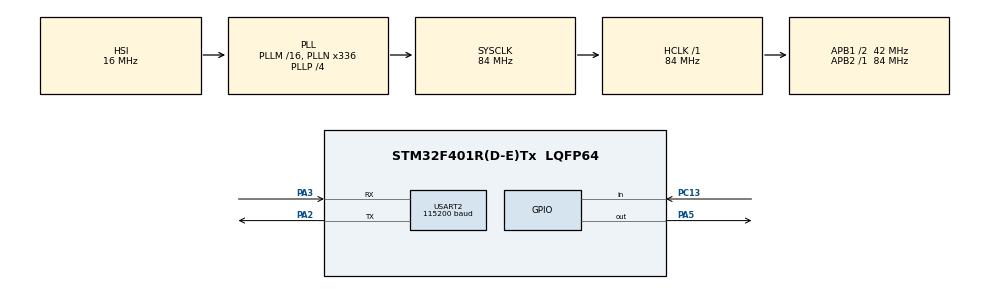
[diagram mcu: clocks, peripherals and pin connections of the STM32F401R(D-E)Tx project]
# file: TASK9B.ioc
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Mcu.Family=STM32F4
Mcu.Name=STM32F401R(D-E)Tx
Mcu.Package=LQFP64
NVIC.USART2_IRQn=true:0:0:false:false:true:true:true:true
PA2.Mode=Asynchronous
PA2.Signal=USART2_TX
PA3.Mode=Asynchronous
PA3.Signal=USART2_RX
PA5.Signal=GPIO_Output
PA13.Mode=Serial_Wire
PA13.Signal=SYS_JTMS-SWDIO
PA14.Mode=Serial_Wire
PA14.Signal=SYS_JTCK-SWCLK
PC13.Signal=GPIO_Input
PC13.GPIO_PuPd=GPIO_PULLUP
ProjectManager.TargetToolchain=MDK-ARM V5.32
RCC.AHBFreq_Value=84000000
RCC.APB1Freq_Value=42000000
RCC.APB2Freq_Value=84000000
RCC.CortexFreq_Value=84000000
RCC.HCLKFreq_Value=84000000
RCC.SYSCLKFreq_VALUE=84000000
RCC.SYSCLKSource=RCC_SYSCLKSOURCE_PLLCLK
USART2.BaudRate=115200
USART2.Parity=PARITY_NONE
USART2.StopBits=STOPBITS_1
USART2.WordLength=WORDLENGTH_8B
board=custom

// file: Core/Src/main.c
/* USER CODE BEGIN Header */
/**
  ******************************************************************************
  * @file           : main.c
  * @brief          : CAT 9 - TASK 9B: Interactive LED Command Parser
  * Target Device   : STM32F401RET6 (NUCLEO-F401RE, ARM Cortex-M4 @ 84 MHz)
  * Pin Map         : PA2  -> USART2 TX (ST-LINK Virtual COM Port @ 115200)
  *                   PA3  -> USART2 RX (ST-LINK Virtual COM Port @ 115200)
  *                   PA5  -> Onboard Green LED LD2
  ******************************************************************************
  */
/* USER CODE END Header */
#include "main.h"

/* USER CODE BEGIN Includes */
#include <stdio.h>
#include <string.h>
#include <stdbool.h>
/* USER CODE END Includes */

UART_HandleTypeDef huart2;

/* USER CODE BEGIN PV */
uint8_t rx_byte = 0;
char rx_buffer[64];
uint8_t rx_index = 0;
char response[128];
/* USER CODE END PV */

void SystemClock_Config(void);
static void MX_GPIO_Init(void);
static void MX_USART2_UART_Init(void);

int main(void)
{
  /* USER CODE BEGIN 1 */
  char *banner = "\r\n========================================\r\n"
                 " STM32F401RE Command Parser Console\r\n"
                 " Supported: LED ON, LED OFF, LED TOGGLE, LED STATUS\r\n"
                 "========================================\r\n> ";
  GPIO_PinState st;
  /* USER CODE END 1 */

  /* MCU Configuration--------------------------------------------------------*/

  /* Reset of all peripherals, Initializes the Flash interface and the Systick. */
  HAL_Init();

  /* Configure the system clock */
  SystemClock_Config();

  /* Initialize all configured peripherals */
  MX_GPIO_Init();
  MX_USART2_UART_Init();
  /* USER CODE BEGIN 2 */
  HAL_UART_Transmit(&huart2, (uint8_t *)banner, strlen(banner), HAL_MAX_DELAY);
  /* USER CODE END 2 */

  /* Infinite loop */
  /* USER CODE BEGIN WHILE */
  while (1)
  {
    if (HAL_UART_Receive(&huart2, &rx_byte, 1, 10) == HAL_OK)
    {
      HAL_UART_Transmit(&huart2, &rx_byte, 1, 10); /* Echo typed character */

      if (rx_byte == '\r' || rx_byte == '\n')
      {
        if (rx_index > 0)
        {
          rx_buffer[rx_index] = '\0';

          if (strcmp(rx_buffer, "LED ON") == 0)
          {
            HAL_GPIO_WritePin(GPIOA, GPIO_PIN_5, GPIO_PIN_SET);
            snprintf(response, sizeof(response), "\r\n[OK] User LED (PA5) is now turned ON\r\n> ");
          }
          else if (strcmp(rx_buffer, "LED OFF") == 0)
          {
            HAL_GPIO_WritePin(GPIOA, GPIO_PIN_5, GPIO_PIN_RESET);
            snprintf(response, sizeof(response), "\r\n[OK] User LED (PA5) is now turned OFF\r\n> ");
          }
          else if (strcmp(rx_buffer, "LED TOGGLE") == 0)
          {
            HAL_GPIO_TogglePin(GPIOA, GPIO_PIN_5);
            st = HAL_GPIO_ReadPin(GPIOA, GPIO_PIN_5);
            snprintf(response, sizeof(response), "\r\n[OK] User LED toggled to %s\r\n> ", (st == GPIO_PIN_SET) ? "ON" : "OFF");
          }
          else if (strcmp(rx_buffer, "LED STATUS") == 0)
          {
            st = HAL_GPIO_ReadPin(GPIOA, GPIO_PIN_5);
            snprintf(response, sizeof(response), "\r\n[STATUS] User LED (PA5) is currently: %s\r\n> ", (st == GPIO_PIN_SET) ? "ON" : "OFF");
          }
          else
          {
            snprintf(response, sizeof(response), "\r\n[ERROR] Unknown Command '%s'. Valid: LED ON | LED OFF | LED TOGGLE | LED STATUS\r\n> ", rx_buffer);
          }

          HAL_UART_Transmit(&huart2, (uint8_t *)response, strlen(response), HAL_MAX_DELAY);
          rx_index = 0;
        }
        else
        {
          char prompt[] = "\r\n> ";
          HAL_UART_Transmit(&huart2, (uint8_t *)prompt, strlen(prompt), HAL_MAX_DELAY);
        }
      }
      else if (rx_byte == '\b' || rx_byte == 0x7F)
      {
        if (rx_index > 0)
        {
          rx_index--;
          char bs_seq[] = " \b";
          HAL_UART_Transmit(&huart2, (uint8_t *)bs_seq, strlen(bs_seq), HAL_MAX_DELAY);
        }
      }
      else
      {
        if (rx_index < sizeof(rx_buffer) - 1)
        {
          rx_buffer[rx_index++] = rx_byte;
        }
      }
    }
    /* USER CODE END WHILE */

  }
}

void SystemClock_Config(void)
{
  RCC_OscInitTypeDef RCC_OscInitStruct = {0};
  RCC_ClkInitTypeDef RCC_ClkInitStruct = {0};

  __HAL_RCC_PWR_CLK_ENABLE();
  __HAL_PWR_VOLTAGESCALING_CONFIG(PWR_REGULATOR_VOLTAGE_SCALE2);

  RCC_OscInitStruct.OscillatorType = RCC_OSCILLATORTYPE_HSI;
  RCC_OscInitStruct.HSIState = RCC_HSI_ON;
  RCC_OscInitStruct.HSICalibrationValue = RCC_HSICALIBRATION_DEFAULT;
  RCC_OscInitStruct.PLL.PLLState = RCC_PLL_ON;
  RCC_OscInitStruct.PLL.PLLSource = RCC_PLLSOURCE_HSI;
  RCC_OscInitStruct.PLL.PLLM = 16;
  RCC_OscInitStruct.PLL.PLLN = 336;
  RCC_OscInitStruct.PLL.PLLP = RCC_PLLP_DIV4;
  RCC_OscInitStruct.PLL.PLLQ = 7;
  if (HAL_RCC_OscConfig(&RCC_OscInitStruct) != HAL_OK)
  {
    Error_Handler();
  }

  RCC_ClkInitStruct.ClockType = RCC_CLOCKTYPE_HCLK|RCC_CLOCKTYPE_SYSCLK
                              |RCC_CLOCKTYPE_PCLK1|RCC_CLOCKTYPE_PCLK2;
  RCC_ClkInitStruct.SYSCLKSource = RCC_SYSCLKSOURCE_PLLCLK;
  RCC_ClkInitStruct.AHBCLKDivider = RCC_SYSCLK_DIV1;
  RCC_ClkInitStruct.APB1CLKDivider = RCC_HCLK_DIV2;
  RCC_ClkInitStruct.APB2CLKDivider = RCC_HCLK_DIV1;

  if (HAL_RCC_ClockConfig(&RCC_ClkInitStruct, FLASH_LATENCY_2) != HAL_OK)
  {
    Error_Handler();
  }
}

static void MX_USART2_UART_Init(void)
{
  huart2.Instance = USART2;
  huart2.Init.BaudRate = 115200;
  huart2.Init.WordLength = UART_WORDLENGTH_8B;
  huart2.Init.StopBits = UART_STOPBITS_1;
  huart2.Init.Parity = UART_PARITY_NONE;
  huart2.Init.Mode = UART_MODE_TX_RX;
  huart2.Init.HwFlowCtl = UART_HWCONTROL_NONE;
  huart2.Init.OverSampling = UART_OVERSAMPLING_16;
  if (HAL_UART_Init(&huart2) != HAL_OK)
  {
    Error_Handler();
  }
}

static void MX_GPIO_Init(void)
{
  GPIO_InitTypeDef GPIO_InitStruct = {0};

  /* GPIO Ports Clock Enable */
  __HAL_RCC_GPIOA_CLK_ENABLE();

  /* Configure GPIO pin Output Level */
  HAL_GPIO_WritePin(GPIOA, GPIO_PIN_5, GPIO_PIN_RESET);

  /* Configure GPIO pin : PA5 (LD2 Green LED) */
  GPIO_InitStruct.Pin = GPIO_PIN_5;
  GPIO_InitStruct.Mode = GPIO_MODE_OUTPUT_PP;
  GPIO_InitStruct.Pull = GPIO_NOPULL;
  GPIO_InitStruct.Speed = GPIO_SPEED_FREQ_LOW;
  HAL_GPIO_Init(GPIOA, &GPIO_InitStruct);
}

void Error_Handler(void)
{
  __disable_irq();
  while (1)
  {
  }
}
